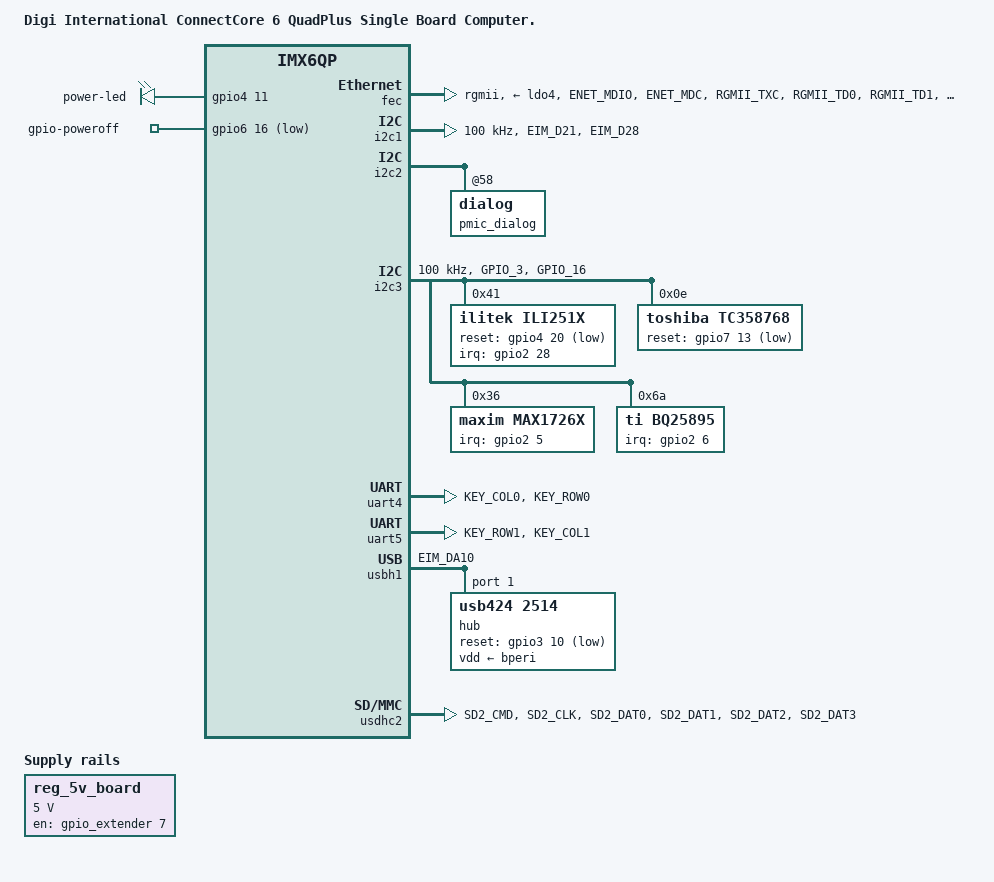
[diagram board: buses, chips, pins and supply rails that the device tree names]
/*
 * Copyright 2017, Digi International Inc.
 *
 * Permission to use, copy, modify, and/or distribute this software for any
 * purpose with or without fee is hereby granted, provided that the above
 * copyright notice and this permission notice appear in all copies.
 *
 * THE SOFTWARE IS PROVIDED "AS IS" AND THE AUTHOR DISCLAIMS ALL WARRANTIES
 * WITH REGARD TO THIS SOFTWARE INCLUDING ALL IMPLIED WARRANTIES OF
 * MERCHANTABILITY AND FITNESS. IN NO EVENT SHALL THE AUTHOR BE LIABLE FOR
 * ANY SPECIAL, DIRECT, INDIRECT, OR CONSEQUENTIAL DAMAGES OR ANY DAMAGES
 * WHATSOEVER RESULTING FROM LOSS OF USE, DATA OR PROFITS, WHETHER IN AN
 * ACTION OF CONTRACT, NEGLIGENCE OR OTHER TORTIOUS ACTION, ARISING OUT OF
 * OR IN CONNECTION WITH THE USE OR PERFORMANCE OF THIS SOFTWARE.
 */

/ {
	model = "Digi International ConnectCore 6 QuadPlus Single Board Computer.";
	compatible = "digi,ccimx6qpsbc", "digi,ccimx6sbc", "digi,ccimx6qp", "digi,ccimx6", "fsl,imx6qp";
	digi,machine,name = "ccimx6qpsbc";

	aliases {
		mxcfb0 = &mxcfb1;
		mxcfb1 = &mxcfb2;
	};

	reg_5v_board: fixedregulator@2 {
		compatible = "regulator-fixed";
		regulator-name = "5v_board";
		startup-delay-us = <6000>;
		regulator-min-microvolt = <5000000>;
		regulator-max-microvolt = <5000000>;
		regulator-always-on;
		gpio = <&gpio_extender 7 GPIO_ACTIVE_HIGH>;
		enable-active-high;
		status = "okay";
	};

	mxcfb1: fb@0 {
		compatible = "fsl,mxc_sdc_fb";
		disp_dev = "lcd";
		interface_pix_fmt = "RGB24";
		mode_str ="FORTEC";
		default_bpp = <32>;
		int_clk = <0>;
		late_init = <0>;
		status = "disabled";
	};

	mxcfb2: fb@1 {
		compatible = "fsl,mxc_sdc_fb";
		disp_dev = "hdmi";
		interface_pix_fmt = "RGB24";
		mode_str ="1920x1080M@60";
		default_bpp = <32>;
		int_clk = <0>;
		late_init = <0>;
		status = "disabled";
	};



	/* Parallel display */
	lcd: display@di0 {
		compatible = "fsl,lcd";
		ipu_id = <0>;
		disp_id = <0>;
		default_ifmt = "RGB24";
		pinctrl-names = "default";
		pinctrl-0 = <&pinctrl_ipu1_di0>;
		status = "disabled";
	};

    leds {
		compatible = "gpio-leds";
		power {
			label = "power-led";
			gpios = <&gpio4 11 GPIO_ACTIVE_HIGH>;
			default-state = "on";
		};

	};


	/* SGTL5000 codec is powered by 3V3 BUCK_PERI, but controlled
	 * by GPIO2_25 via a FET transistor
	 */
	codec_power: fixedregulator@0 {
		compatible = "regulator-fixed";
		regulator-name = "aud_pwr_en";
		regulator-min-microvolt = <3300000>;
		regulator-max-microvolt = <3300000>;
		gpio = <&gpio2 25 GPIO_ACTIVE_HIGH>;
		enable-active-high;
		vin-supply = <&bperi>;
		pinctrl-names = "default";
		pinctrl-0 = <&pinctrl_aud_pwr_en>;
		status = "disabled";
		regulator-state-mem {
			regulator-off-in-suspend;
		};
		regulator-state-disk {
			regulator-off-in-suspend;
		};
	};


	sound_sgtl5000: sound-sgtl5000 {
		compatible = "fsl,imx-audio-sgtl5000";
		model = "sgtl5000-audio";
		ssi-controller = <&ssi2>;
		audio-codec = <&sgtl5000>;
		audio-routing =
			"MIC_IN", "Mic Jack",
			"Mic Jack", "Mic Bias",
			"Headphone Jack", "HP_OUT";
		mux-int-port = <2>;
		mux-ext-port = <3>;
		hp-det-debounce = <250>;
		status = "disabled";
	};


	/* for now no sound on the hdmi interface
	sound_hdmi: sound-hdmi {
		compatible = "fsl,imx6qdl-audio-hdmi";
		model = "imx-audio-hdmi";
		hdmi-controller = <&hdmi_audio>;
		status = "disabled";
	};
	*/

	v4l2_cap_0: v4l2-cap@0 {
		compatible = "fsl,imx6q-v4l2-capture";
		mclk_source = <0>;
		ipu_id = <0>;
		csi_id = <0>;
		status = "disabled";
	};

	v4l2_cap_1: v4l2-cap@1 {
		compatible = "fsl,imx6q-v4l2-capture";
		mclk_source = <0>;
		ipu_id = <1>;
		csi_id = <1>;
		status = "disabled";
	};

	v4l2_out: v4l2-out {
		compatible = "fsl,mxc_v4l2_output";
		status = "disabled";
	};

 	/* ON_HOLD signal */
	gpio-poweroff {
		compatible = "gpio-poweroff";
		gpios = <&gpio6 16  GPIO_ACTIVE_LOW>;
	};
};

&audmux {
	pinctrl-names = "default";
	pinctrl-0 = <&pinctrl_audmux>;
};


&ecspi2 {
	num-cs = <1>;
    cs-gpios = <&gpio5 29 GPIO_ACTIVE_HIGH>; // CSI0_DAT11  4*32 + 29 -> 157
	pinctrl-names = "default";
	pinctrl-0 = <&pinctrl_ecspi2>;
	status = "disabled";
};

/* 10/100/1000 KSZ9031 PHY */
&fec {
	pinctrl-names = "default";
	pinctrl-0 = <&pinctrl_enet>;
	phy-mode = "rgmii";
	phy-reset-gpios = <&gpio1 25 GPIO_ACTIVE_HIGH>;
	rxc-skew-ps = <1800>;
	rxdv-skew-ps = <0>;
	txc-skew-ps = <1800>;
	txen-skew-ps = <0>;
	phy-reset-duration = <10>;
	phy-reset-wait = <1>;
	phy-supply = <&ldo4>;
	fsl,magic-packet;
};

&gpc {
	fsl,cpu_pupscr_sw2iso = <0xf>;
	fsl,cpu_pupscr_sw = <0xf>;
	fsl,cpu_pdnscr_iso2sw = <0x1>;
	fsl,cpu_pdnscr_iso = <0x1>;
	fsl,ldo-bypass = <0>; /* No ldo-bypass */
	fsl,wdog-reset = <1>; /* watchdog select of reset source */
	pu-supply = <&reg_pu>;
};

&hdmi_core {
	ipu_id = <1>;
	disp_id = <1>;
};

&hdmi_video {
	fsl,phy_reg_vlev = <0x0294>;
	fsl,phy_reg_cksymtx = <0x800d>;
	digi,dvi_mode;
	HDMI-supply = <&reg_5v_board>;
};


&i2c1 {
	clock-frequency = <100000>;
	pinctrl-names = "default";
	pinctrl-0 = <&pinctrl_i2c1>;
};

&i2c2 {
	pmic_dialog: dialog@58 {
		leds {
			compatible = "dlg,da9063-leds";

			lvds0-backlight@c6 {
				dlg,led-gpio-reg = <0x1a 0xf0>;
				dlg,led-reg = <0xc6>;
				/*
				 * If using the latest Video Adapter Board
				 * uncomment to invert the backlight polarity
				 */
				dlg,inverse-polarity;
				linux,default-trigger = "backlight";
			};

			// gpio14
			stdby-led@c7 {
				dlg,led-gpio-reg = <0x1c 0x0f>;
				dlg,led-reg = <0xc7>;
				linux,default-trigger = "backlight";
			};
		};
	};
};

&i2c3 {
	clock-frequency = <100000>;
	pinctrl-names = "default";
	pinctrl-0 = <&pinctrl_i2c3>;

	edid@50 {
		compatible = "fsl,imx6-hdmi-i2c";
		reg = <0x50>;
		status = "disabled";
	};

	ili251x: ili251x@41 {
		compatible = "ilitek,ili251x";
		reg = <0x41>;
		interrupt-parent = <&gpio2>;
		interrupts = <28 IRQ_TYPE_EDGE_FALLING>;
		reset-gpios = <&gpio4 20 GPIO_ACTIVE_LOW>;
	};


	gemmi_cam_bridge_0: gemmi_cam_bridge@4 {
		compatible = "ovti,gemmi_cam_bridge";
		reg = <0x04>;
		pinctrl-names = "default";
		pinctrl-0 = <&pinctrl_ipu1_1>;
		clocks = <&clks 201>;
		clock-names = "csi_mclk";
		csi_id = <0>;
		ipu_id = <0>;
		mclk = <24000000>;
		mclk_source = <0>;
		digi,defer-probe;
		status = "disabled";
	};

	gemmi_cam_bridge_1: gemmi_cam_bridge@6 {
		compatible = "ovti,gemmi_cam_bridge";
		reg = <0x06>;
		pinctrl-names = "default";
		pinctrl-0 = <&pinctrl_ipu2_2>;
		clocks = <&clks 201>;
		clock-names = "csi_mclk";
		csi_id = <1>;
		ipu_id = <1>;
		mclk = <24000000>;
		mclk_source = <0>;
		digi,defer-probe;
		status = "disabled";
	};

	tc358768: tc358768@e {
		compatible = "toshiba,tc358768";
		reg = <0x0e>;
		data-lines = <24>;
		lanes = <4>;
		reset = <&gpio7 13 1>;
	};


	sgtl5000: codec@a {
		compatible = "fsl,sgtl5000";
		reg = <0x0a>;
		clock-frequency = <24000000>;
		clocks = <&clks 201>;
		VDDA-supply = <&codec_power>;
		VDDIO-supply = <&codec_power>;
		status = "disabled";
	};

	MAX1726x: MAX1726x@36 {
		status              = "okay";
		reg                 = <0x36>; // MINIQUSB I2C ADDR=1, SIZE=0

		interrupt-parent    = <&gpio2>;
		interrupts 	    = <5 IRQ_TYPE_EDGE_FALLING>;
	};

	bq25895: bq25895@6a {
		compatible = "ti,bq25895";
		reg = <0x6a>;

		ti,battery-regulation-voltage = <4208000>;
		ti,charge-current = <3500000>;
		// 7.8Ah * 0.02C = 156mA -> 192 = 128 + 64
		// register allows only 64mA steps
		ti,termination-current = <128000>;
		ti,precharge-current = <128000>;
		ti,minimum-sys-voltage = <3600000>;
		ti,boost-voltage = <5510000>;
		ti,boost-max-current = <2400000>;
		// VREG_ACTUAL = VREG + min(ICHRG_ACTUAL x BATCOMP, VCLAMP)
		ti,ibatcomp-micro-ohms = <60000>;		// 60 mOhm
		ti,ibatcomp-clamp-microvolt = <210000>;	// 3.5A * 0.06ohm = 0.21

		ti,use-ilim-pin;
		ti,thermal-regulation-threshold = <120>;

		interrupt-parent    = <&gpio2>;
		interrupts 	    = <6 IRQ_TYPE_EDGE_FALLING>;
	};
};


&MAX1726x {
    compatible  = "maxim,MAX1726x";

    rsense          = <10>;     /* miliOhm */
    model-option    = <1>;      /* 1: EZ Model, 2: Custom INI without model table
                                    3: Custom INI with custom model table */

    talrt-min   = <0>;          /* DegreeC */
    talrt-max   = <90>;         /* DegreeC */
    valrt-min   = <3000>;       /* mV */
    valrt-max   = <4500>;       /* mV */
    salrt-min   = <1>;          /* Percent */
    salrt-max   = <99>;         /* Percent */
    ialrt-min   = <(-5000)>;    /* mA */
    ialrt-max   = <5000>;       /* mA */


    /*** INI parameters ***/
    /* Option 1/2/3 */
    designcap   = /bits/ 16 <0x3CF0>; /* 7800 mAh * 0.5 */
    ichgterm    = /bits/ 16 <0x0334>;  /* 128 / 0.15625 = 820 = 0x334 */
    vempty      = /bits/ 16 <0xA061>; /* VE 3200 mV; VR 3880 mV*/
    vcharge     = <4200>; /* mV */

    /* Option 2/3 */
    learncfg    = /bits/ 16 <0xC482>;
    rcomp0      = /bits/ 16 <0x0578>; /* 1400 */
    tempco      = /bits/ 16 <0x223E>;
    qrtable00   = /bits/ 16 <0x1050>;
    qrtable10   = /bits/ 16 <0x2013>;
    qrtable20   = /bits/ 16 <0x0B04>;
    qrtable30   = /bits/ 16 <0x0885>;

    /* Option 2 */
    dpacc       = /bits/ 16 <0x0C80>;
    modelcfg    = /bits/ 16 <0x8000>;

    /* Option 3 */
    relaxcfg    = /bits/ 16 <0x2039>;
    config      = /bits/ 16 <0x2210>;
    config2     = /bits/ 16 <0x0658>;
    fullsocthr  = /bits/ 16 <0x5F05>;
    tgain       = /bits/ 16 <0xEE56>;
    toff        = /bits/ 16 <0x1DA4>;
    curve       = /bits/ 16 <0x0025>;
    model-data  = /bits/ 16 <
        /* OCV Table */
        0x9760 0xa510 0xb100 0xb600 0xb7a0 0xb900 0xba70 0xbc70
        0xbde0 0xbfc0 0xc250 0xc510 0xc990 0xcea0 0xd040 0xd750
        /* X Table */
        0x0060 0x0120 0x0240 0x0d80 0x08b0 0x0590 0x1200 0x3210
        0x0ee0 0x0a40 0x0950 0x08e0 0x0800 0x0780 0x06b0 0x06b0
        /* RCompSeg Table */
        0x0100 0x0100 0x0100 0x0100 0x0100 0x0100 0x0100 0x0100
        0x0100 0x0100 0x0100 0x0100 0x0100 0x0100 0x0100 0x0100
    >;
};
/* TODO(Ks) remove if pmic pwm is working */
&pwm2 {
	pinctrl-names = "default";
	pinctrl-0 = <&pinctrl_pwm2>;
	status = "disabled";
};

&iomuxc {
	pinctrl-names = "default";
	pinctrl-0 = <&pinctrl_hog>;

	audmux {
		pinctrl_audmux: audmux {
			fsl,pins = <
				MX6QDL_PAD_CSI0_DAT7__AUD3_RXD  0x130b0
				MX6QDL_PAD_CSI0_DAT4__AUD3_TXC  0x130b0
				MX6QDL_PAD_CSI0_DAT5__AUD3_TXD  0x110b0
				MX6QDL_PAD_CSI0_DAT6__AUD3_TXFS 0x130b0
			>;
		};
	};

	aud_pwr_en {
		pinctrl_aud_pwr_en: aud_pwr_en {
			fsl,pins = <

				MX6QDL_PAD_EIM_OE__GPIO2_IO25 0x80000000
			>;
		};
	};


	ecspi2 {
			pinctrl_ecspi2: ecspi2 {
			fsl,pins = <
				MX6QDL_PAD_CSI0_DAT8__ECSPI2_SCLK   0x100b1
				MX6QDL_PAD_CSI0_DAT9__ECSPI2_MOSI   0x100b1
				MX6QDL_PAD_CSI0_DAT10__ECSPI2_MISO  0x100b1
			>;
		};
	};

	enet {
		pinctrl_enet: enet {
			fsl,pins = <
				MX6QDL_PAD_ENET_MDIO__ENET_MDIO       0x1b0b0
				MX6QDL_PAD_ENET_MDC__ENET_MDC         0x1b0b0
				MX6QDL_PAD_RGMII_TXC__RGMII_TXC       0x1b0b0
				MX6QDL_PAD_RGMII_TD0__RGMII_TD0       0x1b0b0
				MX6QDL_PAD_RGMII_TD1__RGMII_TD1       0x1b0b0
				MX6QDL_PAD_RGMII_TD2__RGMII_TD2       0x1b0b0
				MX6QDL_PAD_RGMII_TD3__RGMII_TD3       0x1b0b0
				MX6QDL_PAD_RGMII_TX_CTL__RGMII_TX_CTL 0x1b0b0
				MX6QDL_PAD_ENET_REF_CLK__ENET_TX_CLK  0x1b0b0
				MX6QDL_PAD_RGMII_RXC__RGMII_RXC       0x1b0b0
				MX6QDL_PAD_RGMII_RD0__RGMII_RD0       0x1b0b0
				MX6QDL_PAD_RGMII_RD1__RGMII_RD1       0x1b0b0
				MX6QDL_PAD_RGMII_RD2__RGMII_RD2       0x1b0b0
				MX6QDL_PAD_RGMII_RD3__RGMII_RD3       0x1b0b0
				MX6QDL_PAD_RGMII_RX_CTL__RGMII_RX_CTL 0x1b0b0
				MX6QDL_PAD_ENET_REF_CLK__ENET_TX_CLK  0x1b0b0
				MX6QDL_PAD_ENET_TX_EN__GPIO1_IO28     0x1b0b0
				MX6QDL_PAD_ENET_CRS_DV__GPIO1_IO25    0x1b0b0
			>;
		};
	};

	i2c1 {
		pinctrl_i2c1: i2c1 {
			fsl,pins = <
				MX6QDL_PAD_EIM_D21__I2C1_SCL 0x4001b8b1
				MX6QDL_PAD_EIM_D28__I2C1_SDA 0x4001b8b1
			>;
		};
	};

	i2c2 {
		pinctrl_i2c2: i2c2 {
			fsl,pins = <
				MX6QDL_PAD_KEY_COL3__I2C2_SCL 0x4001b8b1
				MX6QDL_PAD_KEY_ROW3__I2C2_SDA 0x4001b8b1
			>;
		};
	};

	i2c3 {
		pinctrl_i2c3: i2c3 {
			fsl,pins = <
				MX6QDL_PAD_GPIO_3__I2C3_SCL 0x4001b8b1
				MX6QDL_PAD_GPIO_16__I2C3_SDA 0x4001b8b1
			>;
		};
	};

	ipu1 {
		pinctrl_ipu1_1: ipu1grp-1 { /* parallel camera */
			fsl,pins = <
				MX6QDL_PAD_CSI0_DAT12__IPU1_CSI0_DATA12    0x80000000
				MX6QDL_PAD_CSI0_DAT13__IPU1_CSI0_DATA13    0x80000000
				MX6QDL_PAD_CSI0_DAT14__IPU1_CSI0_DATA14    0x80000000
				MX6QDL_PAD_CSI0_DAT15__IPU1_CSI0_DATA15    0x80000000
				MX6QDL_PAD_CSI0_DAT16__IPU1_CSI0_DATA16    0x80000000
				MX6QDL_PAD_CSI0_DAT17__IPU1_CSI0_DATA17    0x80000000
				MX6QDL_PAD_CSI0_DAT18__IPU1_CSI0_DATA18    0x80000000
				MX6QDL_PAD_CSI0_DAT19__IPU1_CSI0_DATA19    0x80000000
				MX6QDL_PAD_CSI0_PIXCLK__IPU1_CSI0_PIXCLK   0x0000a0b0
				MX6QDL_PAD_CSI0_MCLK__IPU1_CSI0_HSYNC      0x80000000
				MX6QDL_PAD_CSI0_VSYNC__IPU1_CSI0_VSYNC     0x80000000
				MX6QDL_PAD_EIM_WAIT__GPIO5_IO00            0x80000000
				MX6QDL_PAD_CSI0_DATA_EN__GPIO5_IO20	   0x80000000
			>;
		};

		/* Parallel display */
		pinctrl_ipu1_di0: ipu1grp-2 {
			fsl,pins = <
				/* DISP0_CLK */
				MX6QDL_PAD_DI0_DISP_CLK__IPU1_DI0_DISP_CLK 0xa0
				/* DISP0_DRDY */
				MX6QDL_PAD_DI0_PIN15__IPU1_DI0_PIN15       0xa0
				/* DISP0 VSYNC */
				MX6QDL_PAD_DI0_PIN3__IPU1_DI0_PIN03        0xa0
				/* DISP0 HSYNC */
				MX6QDL_PAD_DI0_PIN2__IPU1_DI0_PIN02        0xa0
				/* Data bus */
				MX6QDL_PAD_DISP0_DAT0__IPU1_DISP0_DATA00   0xa0
				MX6QDL_PAD_DISP0_DAT1__IPU1_DISP0_DATA01   0xa0
				MX6QDL_PAD_DISP0_DAT2__IPU1_DISP0_DATA02   0xa0
				MX6QDL_PAD_DISP0_DAT3__IPU1_DISP0_DATA03   0xa0
				MX6QDL_PAD_DISP0_DAT4__IPU1_DISP0_DATA04   0xa0
				MX6QDL_PAD_DISP0_DAT5__IPU1_DISP0_DATA05   0xa0
				MX6QDL_PAD_DISP0_DAT6__IPU1_DISP0_DATA06   0xa0
				MX6QDL_PAD_DISP0_DAT7__IPU1_DISP0_DATA07   0xa0
				MX6QDL_PAD_DISP0_DAT8__IPU1_DISP0_DATA08   0xa0
				MX6QDL_PAD_DISP0_DAT9__IPU1_DISP0_DATA09   0xa0
				MX6QDL_PAD_DISP0_DAT10__IPU1_DISP0_DATA10  0xa0
				MX6QDL_PAD_DISP0_DAT11__IPU1_DISP0_DATA11  0xa0
				MX6QDL_PAD_DISP0_DAT12__IPU1_DISP0_DATA12  0xa0
				MX6QDL_PAD_DISP0_DAT13__IPU1_DISP0_DATA13  0xa0
				MX6QDL_PAD_DISP0_DAT14__IPU1_DISP0_DATA14  0xa0
				MX6QDL_PAD_DISP0_DAT15__IPU1_DISP0_DATA15  0xa0
				MX6QDL_PAD_DISP0_DAT16__IPU1_DISP0_DATA16  0xa0
				MX6QDL_PAD_DISP0_DAT17__IPU1_DISP0_DATA17  0xa0
				MX6QDL_PAD_DISP0_DAT18__IPU1_DISP0_DATA18  0xa0
				MX6QDL_PAD_DISP0_DAT19__IPU1_DISP0_DATA19  0xa0
				MX6QDL_PAD_DISP0_DAT20__IPU1_DISP0_DATA20  0xa0
				MX6QDL_PAD_DISP0_DAT21__IPU1_DISP0_DATA21  0xa0
				MX6QDL_PAD_DISP0_DAT22__IPU1_DISP0_DATA22  0xa0
				MX6QDL_PAD_DISP0_DAT23__IPU1_DISP0_DATA23  0xa0
			>;
		};
	};

	ipu2 {
		pinctrl_ipu2: ipu2 {
			fsl,pins = <
				/* Display IRQ */
				MX6QDL_PAD_NANDF_D1__GPIO2_IO01            0x80000000
				/* Display contrast */
				MX6QDL_PAD_DI0_PIN4__GPIO4_IO20            0x80000000
				MX6QDL_PAD_DI0_DISP_CLK__IPU2_DI0_DISP_CLK 0x38
				MX6QDL_PAD_DI0_PIN15__IPU2_DI0_PIN15       0x10
				MX6QDL_PAD_DI0_PIN2__IPU2_DI0_PIN02        0x10
				MX6QDL_PAD_DI0_PIN3__IPU2_DI0_PIN03        0x10
				MX6QDL_PAD_DISP0_DAT0__IPU2_DISP0_DATA00   0x10
				MX6QDL_PAD_DISP0_DAT1__IPU2_DISP0_DATA01   0x10
				MX6QDL_PAD_DISP0_DAT2__IPU2_DISP0_DATA02   0x10
				MX6QDL_PAD_DISP0_DAT3__IPU2_DISP0_DATA03   0x10
				MX6QDL_PAD_DISP0_DAT4__IPU2_DISP0_DATA04   0x10
				MX6QDL_PAD_DISP0_DAT5__IPU2_DISP0_DATA05   0x10
				MX6QDL_PAD_DISP0_DAT6__IPU2_DISP0_DATA06   0x10
				MX6QDL_PAD_DISP0_DAT7__IPU2_DISP0_DATA07   0x10
				MX6QDL_PAD_DISP0_DAT8__IPU2_DISP0_DATA08   0x10
				MX6QDL_PAD_DISP0_DAT9__IPU2_DISP0_DATA09   0x10
				MX6QDL_PAD_DISP0_DAT10__IPU2_DISP0_DATA10  0x10
				MX6QDL_PAD_DISP0_DAT11__IPU2_DISP0_DATA11  0x10
				MX6QDL_PAD_DISP0_DAT12__IPU2_DISP0_DATA12  0x10
				MX6QDL_PAD_DISP0_DAT13__IPU2_DISP0_DATA13  0x10
				MX6QDL_PAD_DISP0_DAT14__IPU2_DISP0_DATA14  0x10
				MX6QDL_PAD_DISP0_DAT15__IPU2_DISP0_DATA15  0x10
				MX6QDL_PAD_DISP0_DAT16__IPU2_DISP0_DATA16  0x10
				MX6QDL_PAD_DISP0_DAT17__IPU2_DISP0_DATA17  0x10
				MX6QDL_PAD_DISP0_DAT18__IPU2_DISP0_DATA18  0x10
				MX6QDL_PAD_DISP0_DAT19__IPU2_DISP0_DATA19  0x10
				MX6QDL_PAD_DISP0_DAT20__IPU2_DISP0_DATA20  0x10
				MX6QDL_PAD_DISP0_DAT21__IPU2_DISP0_DATA21  0x10
				MX6QDL_PAD_DISP0_DAT22__IPU2_DISP0_DATA22  0x10
				MX6QDL_PAD_DISP0_DAT23__IPU2_DISP0_DATA23  0x10
			>;
		};

		pinctrl_ipu2_2: ipu2ctrl2 { /* parallel camera */
			fsl,pins = <
				MX6QDL_PAD_EIM_A17__IPU2_CSI1_DATA12    0x80000000
				MX6QDL_PAD_EIM_A18__IPU2_CSI1_DATA13    0x80000000
				MX6QDL_PAD_EIM_A19__IPU2_CSI1_DATA14    0x80000000
				MX6QDL_PAD_EIM_A20__IPU2_CSI1_DATA15    0x80000000
				MX6QDL_PAD_EIM_A21__IPU2_CSI1_DATA16    0x80000000
				MX6QDL_PAD_EIM_A22__IPU2_CSI1_DATA17    0x80000000
				MX6QDL_PAD_EIM_A23__IPU2_CSI1_DATA18    0x80000000
				MX6QDL_PAD_EIM_A24__IPU2_CSI1_DATA19    0x80000000
				MX6QDL_PAD_EIM_A16__IPU2_CSI1_PIXCLK    0x0000a0b0
				MX6QDL_PAD_EIM_EB3__IPU2_CSI1_HSYNC     0x80000000
				MX6QDL_PAD_EIM_D29__IPU2_CSI1_VSYNC     0x80000000
				MX6QDL_PAD_EIM_DA15__GPIO3_IO15         0x80000000
			>;
		};
	};

	/* TODO(Ks) remove if pmic pwm ist working */
	pwm2 {
		pinctrl_pwm2: pwm2grp {
			fsl,pins = <
				MX6QDL_PAD_GPIO_1__PWM2_OUT 0x1b0b1
			>;
		};
	};

	usb_hub_pads: usb-hub-pads {
		pinctrl_usb_hub_reset: usb_hub_resetgrp {
			fsl,pins = <
				MX6QDL_PAD_EIM_DA10__GPIO3_IO10 0x80000000
			>;
		};
	};

	uart4 {
		pinctrl_uart4: uart4 {
			fsl,pins = <
				MX6QDL_PAD_KEY_COL0__UART4_TX_DATA 0x1b0b1
				MX6QDL_PAD_KEY_ROW0__UART4_RX_DATA 0x1b0b1
			>;
		};
	};

	uart5 {
		pinctrl_uart5: uart5 {
			fsl,pins = <
				MX6QDL_PAD_KEY_ROW1__UART5_RX_DATA 0x1b0b1
				MX6QDL_PAD_KEY_COL1__UART5_TX_DATA 0x1b0b1
			>;
		};
	};


	usdhc1 {
		pinctrl_usdhc1: usdhc1 {
			fsl,pins = <
				MX6QDL_PAD_SD1_CMD__SD1_CMD    0x17071
				MX6QDL_PAD_SD1_CLK__SD1_CLK    0x10071
				MX6QDL_PAD_SD1_DAT0__SD1_DATA0 0x17071
				MX6QDL_PAD_SD1_DAT1__SD1_DATA1 0x17071
				MX6QDL_PAD_SD1_DAT2__SD1_DATA2 0x17071
				MX6QDL_PAD_SD1_DAT3__SD1_DATA3 0x17071
			>;
		};

		pinctrl_usdhc1_100mhz: usdhc1-100mhz {
			fsl,pins = <
				MX6QDL_PAD_SD1_CMD__SD1_CMD    0x170B1
				MX6QDL_PAD_SD1_CLK__SD1_CLK    0x100B1
				MX6QDL_PAD_SD1_DAT0__SD1_DATA0 0x170B1
				MX6QDL_PAD_SD1_DAT1__SD1_DATA1 0x170B1
				MX6QDL_PAD_SD1_DAT2__SD1_DATA2 0x170B1
				MX6QDL_PAD_SD1_DAT3__SD1_DATA3 0x170B1
			>;
		};

		pinctrl_usdhc1_200mhz: usdhc1-200mhz {
			fsl,pins = <
				MX6QDL_PAD_SD1_CMD__SD1_CMD    0x170F1
				MX6QDL_PAD_SD1_CLK__SD1_CLK    0x100F1
				MX6QDL_PAD_SD1_DAT0__SD1_DATA0 0x170F1
				MX6QDL_PAD_SD1_DAT1__SD1_DATA1 0x170F1
				MX6QDL_PAD_SD1_DAT2__SD1_DATA2 0x170F1
				MX6QDL_PAD_SD1_DAT3__SD1_DATA3 0x170F1
			>;
		};
	};

	usdhc2 {
		pinctrl_usdhc2: usdhc2 {
			fsl,pins = <
				MX6QDL_PAD_SD2_CMD__SD2_CMD    0x17071
				MX6QDL_PAD_SD2_CLK__SD2_CLK    0x10071
				MX6QDL_PAD_SD2_DAT0__SD2_DATA0 0x17071
				MX6QDL_PAD_SD2_DAT1__SD2_DATA1 0x17071
				MX6QDL_PAD_SD2_DAT2__SD2_DATA2 0x17071
				MX6QDL_PAD_SD2_DAT3__SD2_DATA3 0x17071
			>;
		};

		pinctrl_usdhc2_100mhz: usdhc2-100mhz {
			fsl,pins = <
				MX6QDL_PAD_SD2_CMD__SD2_CMD    0x170B1
				MX6QDL_PAD_SD2_CLK__SD2_CLK    0x100B1
				MX6QDL_PAD_SD2_DAT0__SD2_DATA0 0x170B1
				MX6QDL_PAD_SD2_DAT1__SD2_DATA1 0x170B1
				MX6QDL_PAD_SD2_DAT2__SD2_DATA2 0x170B1
				MX6QDL_PAD_SD2_DAT3__SD2_DATA3 0x170B1
			>;
		};

		pinctrl_usdhc2_200mhz: usdhc2-200mhz {
			fsl,pins = <
				MX6QDL_PAD_SD2_CMD__SD2_CMD    0x170F1
				MX6QDL_PAD_SD2_CLK__SD2_CLK    0x100F1
				MX6QDL_PAD_SD2_DAT0__SD2_DATA0 0x170F1
				MX6QDL_PAD_SD2_DAT1__SD2_DATA1 0x170F1
				MX6QDL_PAD_SD2_DAT2__SD2_DATA2 0x170F1
				MX6QDL_PAD_SD2_DAT3__SD2_DATA3 0x170F1
			>;
		};
	};

	usdhc4 {
		pinctrl_usdhc4: usdhc4 {
			  fsl,pins = <
				  MX6QDL_PAD_SD4_CMD__SD4_CMD    0x17059
				  MX6QDL_PAD_SD4_CLK__SD4_CLK    0x10059
				  MX6QDL_PAD_SD4_DAT0__SD4_DATA0 0x17059
				  MX6QDL_PAD_SD4_DAT1__SD4_DATA1 0x17059
				  MX6QDL_PAD_SD4_DAT2__SD4_DATA2 0x17059
				  MX6QDL_PAD_SD4_DAT3__SD4_DATA3 0x17059
				  MX6QDL_PAD_SD4_DAT4__SD4_DATA4 0x17059
				  MX6QDL_PAD_SD4_DAT5__SD4_DATA5 0x17059
				  MX6QDL_PAD_SD4_DAT6__SD4_DATA6 0x17059
				  MX6QDL_PAD_SD4_DAT7__SD4_DATA7 0x17059
				  >;
		  };

		pinctrl_usdhc4_100mhz: usdhc4-100mhz {
			fsl,pins = <
				MX6QDL_PAD_SD4_CMD__SD4_CMD    0x170B9
				MX6QDL_PAD_SD4_CLK__SD4_CLK    0x100B9
				MX6QDL_PAD_SD4_DAT0__SD4_DATA0 0x170B9
				MX6QDL_PAD_SD4_DAT1__SD4_DATA1 0x170B9
				MX6QDL_PAD_SD4_DAT2__SD4_DATA2 0x170B9
				MX6QDL_PAD_SD4_DAT3__SD4_DATA3 0x170B9
				MX6QDL_PAD_SD4_DAT4__SD4_DATA4 0x170B9
				MX6QDL_PAD_SD4_DAT5__SD4_DATA5 0x170B9
				MX6QDL_PAD_SD4_DAT6__SD4_DATA6 0x170B9
				MX6QDL_PAD_SD4_DAT7__SD4_DATA7 0x170B9
			>;
		};

		pinctrl_usdhc4_200mhz: usdhc4-200mhz {
			fsl,pins = <
				MX6QDL_PAD_SD4_CMD__SD4_CMD    0x170F9
				MX6QDL_PAD_SD4_CLK__SD4_CLK    0x100F9
				MX6QDL_PAD_SD4_DAT0__SD4_DATA0 0x170F9
				MX6QDL_PAD_SD4_DAT1__SD4_DATA1 0x170F9
				MX6QDL_PAD_SD4_DAT2__SD4_DATA2 0x170F9
				MX6QDL_PAD_SD4_DAT3__SD4_DATA3 0x170F9
				MX6QDL_PAD_SD4_DAT4__SD4_DATA4 0x170F9
				MX6QDL_PAD_SD4_DAT5__SD4_DATA5 0x170F9
				MX6QDL_PAD_SD4_DAT6__SD4_DATA6 0x170F9
				MX6QDL_PAD_SD4_DAT7__SD4_DATA7 0x170F9
			>;
		};
	};

	hog {
		pinctrl_hog: hog {
			fsl,pins = <
				/* iMX_INT_Temp  */
				MX6QDL_PAD_EIM_D16__GPIO3_IO16 0x7000
				/* iMX_100 grad celsius */
				MX6QDL_PAD_EIM_D17__GPIO3_IO17 0x7000
				/* Charger BOOST_EN */
				MX6QDL_PAD_NANDF_D7__GPIO2_IO07 0x80000000
				/* A_FE_PWR_OFF */
				MX6QDL_PAD_SD3_DAT3__GPIO7_IO07 0x80000000
				/* B_FE_PWR_OFF */
				MX6QDL_PAD_NANDF_D4__GPIO2_IO04  0x80000000
				/* A_INT_FE */
				MX6QDL_PAD_KEY_COL4__GPIO4_IO14  0x80000000
				/* B_INT_FE */
				MX6QDL_PAD_GPIO_5__GPIO1_IO05  0x80000000
				/* nFA/DB */
	 			MX6QDL_PAD_EIM_D20__GPIO3_IO20 0x80000000
				/* T_IRQ_N */
				/* P-ON_LED */
				MX6QDL_PAD_KEY_ROW2__GPIO4_IO11 0x80000000
				/* AUD_HP_DET */
				MX6QDL_PAD_NANDF_D0__GPIO2_IO00 0x80000000
				/* USER_LED0 */
				MX6QDL_PAD_NANDF_D2__GPIO2_IO02 0x80000000
				/* USER_LED1 */
				MX6QDL_PAD_NANDF_D3__GPIO2_IO03 0x80000000
				/* CHRG_UOK_N */
				MX6QDL_PAD_NANDF_ALE__GPIO6_IO08 0x80000000
				/* CHRG_FAULT_N */
				MX6QDL_PAD_NANDF_CS2__GPIO6_IO15 0x80000000
				/* ON_HOLD */
				MX6QDL_PAD_NANDF_CS3__GPIO6_IO16 0x80000000
				/* LVDS1_PEN_IRQ_N */
				MX6QDL_PAD_EIM_D23__GPIO3_IO23 0x80000000
				/* LCD IRQ */
				MX6QDL_PAD_NANDF_D1__GPIO2_IO01	0x80000000
				/* AUD_CLK / CSI0_MCLK / CSI1_MCLK */
				MX6QDL_PAD_GPIO_0__CCM_CLKO1    0x130b0
				/* DISP_BL_EN, set high by U-Boot */
				MX6QDL_PAD_EIM_D26__GPIO3_IO26 0x80000000
				/* BT_DISABLE_N */
				MX6QDL_PAD_GPIO_9__GPIO1_IO09 0x80000000
				/* XBEE_ON / SLEEP_N  */
				MX6QDL_PAD_EIM_D27__GPIO3_IO27 0x80000000
				/* EXP_GPIO_0 */
				MX6QDL_PAD_NANDF_D5__GPIO2_IO05 0x80000000
				/* EXP_GPIO_1 */
				MX6QDL_PAD_NANDF_D6__GPIO2_IO06 0x80000000
				/* EXP_GPIO_2 */
				MX6QDL_PAD_NANDF_D7__GPIO2_IO07 0x80000000
				/* EXP_GPIO_3 */
				MX6QDL_PAD_EIM_CS1__GPIO2_IO24 0x80000000
				/* EXP_GPIO_4 */
				MX6QDL_PAD_EIM_EB0__GPIO2_IO28 0x80000000
				/* EXP_GPIO_5 */
				MX6QDL_PAD_EIM_EB1__GPIO2_IO29 0x80000000
				/* EXP_GPIO_6 */
				MX6QDL_PAD_GPIO_18__GPIO7_IO13 0x80000000
				/* EXP_GPIO_7 */
				MX6QDL_PAD_GPIO_19__GPIO4_IO05 0x80000000
			>;
		};
	};
};


&ssi2 {
	fsl,mode = "i2s-slave";
};

&uart4 {
	pinctrl-names = "default";
	pinctrl-0 = <&pinctrl_uart4>;
};

&uart5 {
	pinctrl-names = "default";
	pinctrl-0 = <&pinctrl_uart5>;
};

&usbh1 {
	pinctrl-names = "default";
	pinctrl-0 = <&pinctrl_usb_hub_reset>;
	#address-cells = <1>;
	#size-cells = <0>;

	hub@1 {
		compatible = "usb424,2514";       /* Microchip USB2514 */
		vdd-supply = <&bperi>;
		reg = <1>;                         /* upstream port number on root hub */
		reset-gpios = <&gpio3 10 GPIO_ACTIVE_LOW>;
		status = "okay";
	};
};

&usdhc2 {
	pinctrl-names = "default", "state_100mhz", "state_200mhz";
	pinctrl-0 = <&pinctrl_usdhc2>;
	pinctrl-1 = <&pinctrl_usdhc2_100mhz>;
	pinctrl-2 = <&pinctrl_usdhc2_200mhz>;
	broken-cd;
	no-1-8-v;
	keep-power-in-suspend;
	enable-sdio-wakeup;
	vqmmc-supply = <&ldo9>;
};
